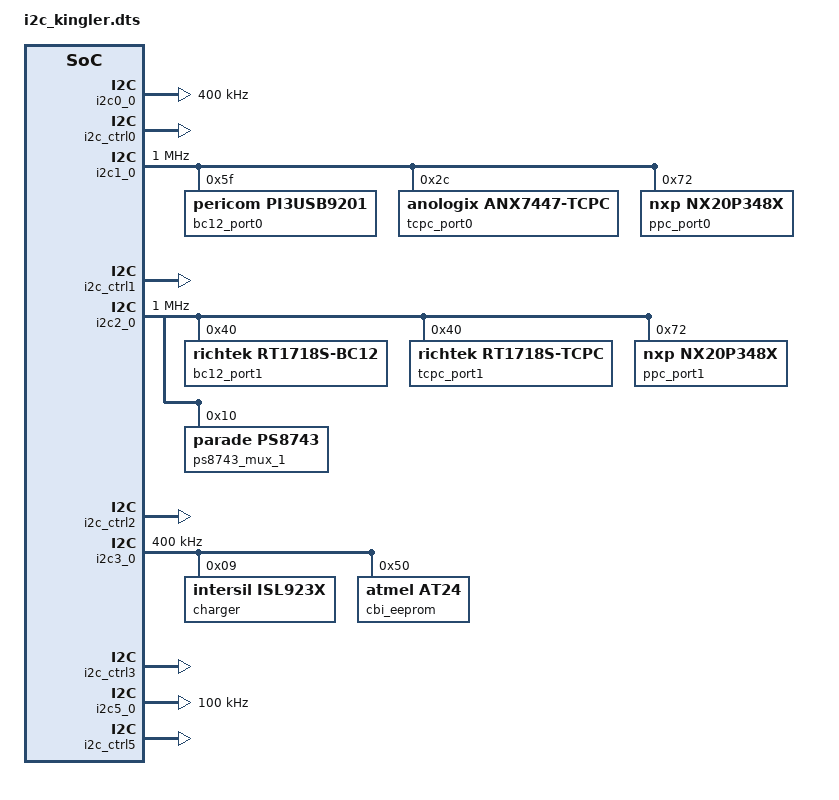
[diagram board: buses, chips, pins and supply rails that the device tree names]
/* Copyright 2021 The Chromium OS Authors. All rights reserved.
 * Use of this source code is governed by a BSD-style license that can be
 * found in the LICENSE file.
 */

#include <dt-bindings/usb_pd_tcpm.h>

/*
 * Kingler and Steelix use the same dts, take care of this when modify it.
 */

/ {
	named-i2c-ports {
		compatible = "named-i2c-ports";

		i2c_sensor: sensor {
			i2c-port = <&i2c0_0>;
			enum-names = "I2C_PORT_SENSOR";
		};
		i2c_usb_c0: usb-c0 {
			i2c-port = <&i2c1_0>;
			remote-port = <7>;
			enum-names = "I2C_PORT_USB_C0";
		};
		i2c_usb_c1: usb-c1 {
			i2c-port = <&i2c2_0>;
			enum-names = "I2C_PORT_USB_C1",
				"I2C_PORT_USB_C1_TCPC",
				"I2C_PORT_USB_C1_PPC";
		};
		i2c_charger: charger {
			i2c-port = <&i2c3_0>;
			enum-names = "I2C_PORT_POWER",
				"I2C_PORT_EEPROM";
		};
		battery {
			i2c-port = <&i2c5_0>;
			remote-port = <1>;
			enum-names = "I2C_PORT_BATTERY",
				"I2C_PORT_VIRTUAL_BATTERY";
		};
	};
};

&i2c0_0 {
	label = "I2C_SENSOR";
	status = "okay";
	clock-frequency = <I2C_BITRATE_FAST>;
	pinctrl-0 = <&i2c0_0_sda_scl_gpb4_b5>;
	pinctrl-names = "default";
};

&i2c_ctrl0 {
	status = "okay";
};

&i2c1_0 {
	label = "I2C_USB_C0";
	status = "okay";
	clock-frequency = <I2C_BITRATE_FAST_PLUS>;
	pinctrl-0 = <&i2c1_0_sda_scl_gp87_90>;
	pinctrl-names = "default";

	bc12_port0: pi3usb9201@5f {
		compatible = "pericom,pi3usb9201";
		status = "okay";
		reg = <0x5f>;
		irq = <&int_usb_c0_bc12>;
	};

	tcpc_port0: anx7447-tcpc@2c {
		compatible = "anologix,anx7447-tcpc";
		status = "okay";
		reg = <0x2c>;
		tcpc-flags = <(
			TCPC_FLAGS_VBUS_MONITOR |
			TCPC_FLAGS_ALERT_OD |
			TCPC_FLAGS_CONTROL_VCONN |
			TCPC_FLAGS_CONTROL_FRS)>;
	};

	ppc_port0: nx20p348x@72 {
		compatible = "nxp,nx20p348x";
		status = "okay";
		reg = <0x72>;
	};
};

&i2c_ctrl1 {
	status = "okay";
};

&i2c2_0 {
	label = "I2C_USB_C1";
	status = "okay";
	clock-frequency = <I2C_BITRATE_FAST_PLUS>;
	pinctrl-0 = <&i2c2_0_sda_scl_gp91_92>;
	pinctrl-names = "default";

	bc12_port1: rt1718s-bc12@40 {
		compatible = "richtek,rt1718s-bc12";
		status = "okay";
		reg = <0x40>;
	};

	tcpc_port1: rt1718s-tcpc@40 {
		compatible = "richtek,rt1718s-tcpc";
		reg = <0x40>;
		tcpc-flags = <(
			TCPC_FLAGS_ALERT_OD |
			TCPC_FLAGS_CONTROL_VCONN |
			TCPC_FLAGS_CONTROL_FRS)>;
	};

	ppc_port1: nx20p348x@72 {
		compatible = "nxp,nx20p348x";
		status = "okay";
		reg = <0x72>;
	};

	ps8743_mux_1: ps8743-mux-1@10 {
		compatible = "parade,ps8743";
		reg = <0x10>;
		board-init = "ps8743_mux_1_board_init";
	};
};

&i2c_ctrl2 {
	status = "okay";
};

&i2c3_0 {
	label = "I2C_PWR_CBI";
	status = "okay";
	clock-frequency = <I2C_BITRATE_FAST>;
	pinctrl-0 = <&i2c3_0_sda_scl_gpd0_d1>;
	pinctrl-names = "default";

	charger: isl923x@9 {
		compatible = "intersil,isl923x";
		status = "okay";
		reg = <0x9>;
	};

	cbi_eeprom: eeprom@50 {
		compatible = "atmel,at24";
		reg = <0x50>;
		size = <2048>;
		pagesize = <16>;
		address-width = <8>;
		timeout = <5>;
	};
};

&i2c_ctrl3 {
	status = "okay";
};

&i2c5_0 {
	label = "I2C_BATTERY";
	status = "okay";
	clock-frequency = <I2C_BITRATE_STANDARD>;
	pinctrl-0 = <&i2c5_0_sda_scl_gp33_36>;
	pinctrl-names = "default";
};

&i2c_ctrl5 {
	status = "okay";
};
